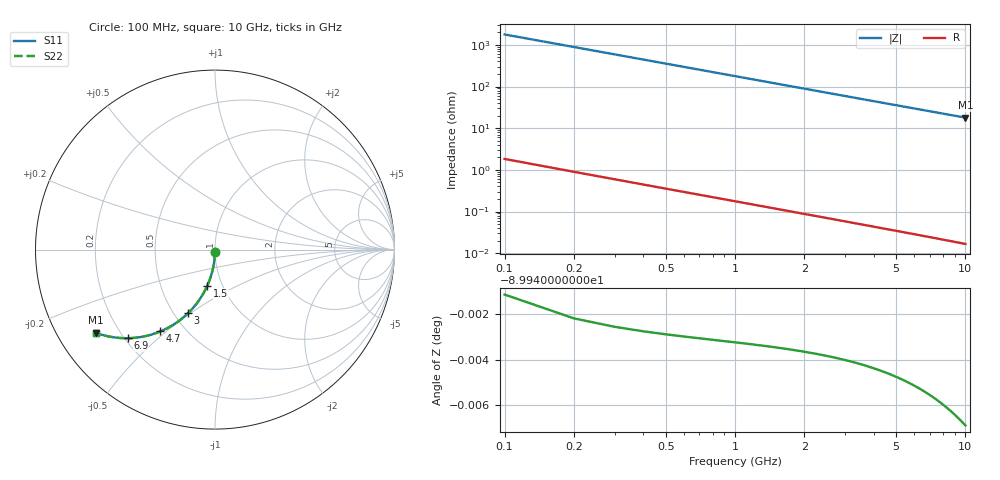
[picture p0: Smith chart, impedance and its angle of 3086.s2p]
# Hz S RI R 50.00
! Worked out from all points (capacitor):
!   100 points, 100 MHz to 10 GHz, reference 50 ohm
!   read as one part in shunt: C = 895 fF near 100 MHz
!   lowest |Z| = 18 ohm at 10 GHz (marker M1)
!   S11 on the Smith chart (normalised r, x): 100 MHz: 1.00, -0.03; 1.5 GHz: 0.85, -0.36; 3 GHz: 0.59, -0.49; 4.7 GHz: 0.37, -0.48; 6.9 GHz: 0.21, -0.40; 10 GHz: 0.12, -0.31
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1e8  -0.00016 -0.014  0.9997 -0.0141  0.9997 -0.0141  -0.00016 -0.014
2e8  -0.000765 -0.0279  0.9991 -0.0283  0.9991 -0.0283  -0.000765 -0.0279
3e8  -0.00176 -0.0418  0.9981 -0.0423  0.9981 -0.0423  -0.00176 -0.0418
4e8  -0.00315 -0.0557  0.9967 -0.0564  0.9967 -0.0564  -0.00315 -0.0557
5e8  -0.00493 -0.0695  0.995 -0.0703  0.995 -0.0703  -0.00493 -0.0695
6e8  -0.00709 -0.0832  0.9928 -0.0842  0.9928 -0.0842  -0.00709 -0.0832
7e8  -0.00963 -0.0969  0.9903 -0.098  0.9903 -0.098  -0.00963 -0.0969
9e8  -0.0158 -0.1237  0.9841 -0.1252  0.9841 -0.1252  -0.0158 -0.1237
1.2e9  -0.0278 -0.163  0.9721 -0.1649  0.9721 -0.1649  -0.0278 -0.163
1.5e9  -0.0427 -0.2006  0.9572 -0.203  0.9572 -0.203  -0.0427 -0.2006
1.8e9  -0.0603 -0.2362  0.9396 -0.2391  0.9396 -0.2391  -0.0603 -0.2362
2.4e9  -0.1024 -0.3007  0.8975 -0.3047  0.8975 -0.3047  -0.1024 -0.3007
3e9  -0.1512 -0.3553  0.8487 -0.3602  0.8487 -0.3602  -0.1512 -0.3553
3.4e9  -0.1861 -0.3859  0.8138 -0.3915  0.8138 -0.3915  -0.1861 -0.3859
4e9  -0.2404 -0.4235  0.7595 -0.4301  0.7595 -0.4301  -0.2404 -0.4235
4.7e9  -0.304 -0.4556  0.6959 -0.4634  0.6959 -0.4634  -0.304 -0.4556
5.1e9  -0.3396 -0.4689  0.6603 -0.4773  0.6603 -0.4773  -0.3396 -0.4689
5.9e9  -0.4076 -0.486  0.5922 -0.4958  0.5922 -0.4958  -0.4076 -0.486
6.7e9  -0.4702 -0.4931  0.5296 -0.5042  0.5296 -0.5042  -0.4702 -0.4931
6.9e9  -0.4849 -0.4935  0.5149 -0.505  0.5149 -0.505  -0.4849 -0.4935
8.4e9  -0.5826 -0.4856  0.4172 -0.4996  0.4172 -0.4996  -0.5826 -0.4856
1e10  -0.6644 -0.4633  0.3354 -0.48  0.3354 -0.48  -0.6644 -0.4633
